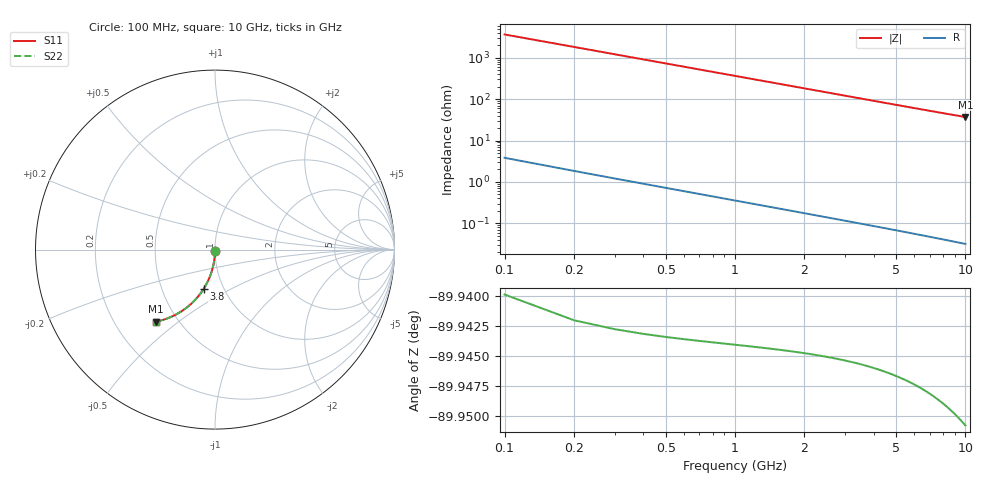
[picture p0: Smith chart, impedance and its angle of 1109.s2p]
# Hz S RI R 50.00
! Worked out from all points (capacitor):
!   100 points, 100 MHz to 10 GHz, reference 50 ohm
!   read as one part in shunt: C = 436 fF near 100 MHz
!   lowest |Z| = 37 ohm at 10 GHz (marker M1)
!   S11 on the Smith chart (normalised r, x): 100 MHz: 1.00, -0.01; 3.8 GHz: 0.80, -0.37; 10 GHz: 0.38, -0.42
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1e8  0.000108 -0.00618  0.9998 -0.00753  0.9998 -0.00753  0.000108 -0.00618
2e8  -3.68e-05 -0.0124  0.9996 -0.0151  0.9996 -0.0151  -3.68e-05 -0.0124
3e8  -0.000275 -0.0185  0.9994 -0.0226  0.9994 -0.0226  -0.000275 -0.0185
4e8  -0.000607 -0.0247  0.999 -0.0301  0.999 -0.0301  -0.000607 -0.0247
5e8  -0.00103 -0.0309  0.9986 -0.0376  0.9986 -0.0376  -0.00103 -0.0309
6e8  -0.00155 -0.037  0.9981 -0.0451  0.9981 -0.0451  -0.00155 -0.037
7e8  -0.00216 -0.0432  0.9975 -0.0526  0.9975 -0.0526  -0.00216 -0.0432
8e8  -0.00286 -0.0493  0.9967 -0.0601  0.9967 -0.0601  -0.00286 -0.0493
9e8  -0.00365 -0.0554  0.9959 -0.0676  0.9959 -0.0676  -0.00365 -0.0554
1.1e9  -0.00551 -0.0676  0.994 -0.0825  0.994 -0.0825  -0.00551 -0.0676
1.4e9  -0.00899 -0.0857  0.9905 -0.1047  0.9905 -0.1047  -0.00899 -0.0857
1.8e9  -0.0149 -0.1096  0.9845 -0.134  0.9845 -0.134  -0.0149 -0.1096
2.1e9  -0.0202 -0.1272  0.9791 -0.1557  0.9791 -0.1557  -0.0202 -0.1272
2.5e9  -0.0285 -0.1501  0.9706 -0.1841  0.9706 -0.1841  -0.0285 -0.1501
2.9e9  -0.038 -0.1724  0.9609 -0.2118  0.9609 -0.2118  -0.038 -0.1724
3.4e9  -0.0517 -0.1992  0.9469 -0.2455  0.9469 -0.2455  -0.0517 -0.1992
3.8e9  -0.0639 -0.2197  0.9344 -0.2714  0.9344 -0.2714  -0.0639 -0.2197
4.4e9  -0.0841 -0.2487  0.9137 -0.3087  0.9137 -0.3087  -0.0841 -0.2487
5.1e9  -0.1103 -0.2796  0.8869 -0.3493  0.8869 -0.3493  -0.1103 -0.2796
6.7e9  -0.1777 -0.3376  0.8176 -0.4298  0.8176 -0.4298  -0.1777 -0.3376
8.4e9  -0.2557 -0.3795  0.7371 -0.496  0.7371 -0.496  -0.2557 -0.3795
1e10  -0.3298 -0.4015  0.66 -0.5413  0.66 -0.5413  -0.3298 -0.4015
